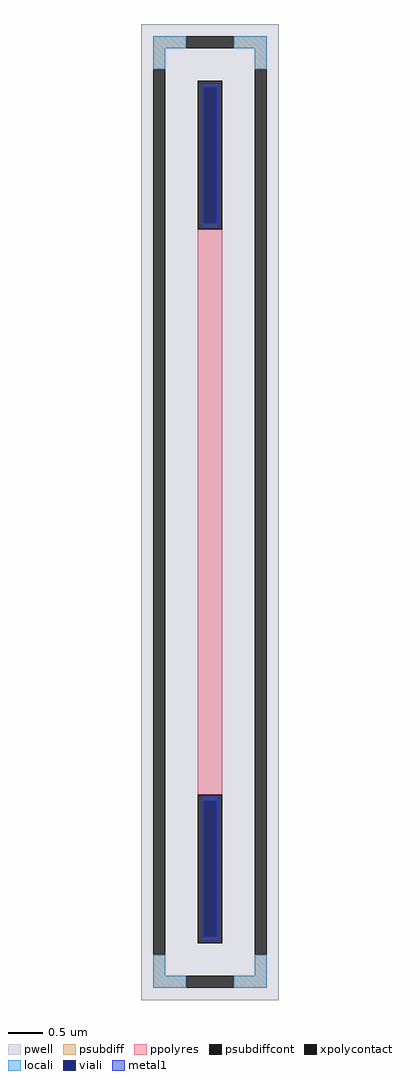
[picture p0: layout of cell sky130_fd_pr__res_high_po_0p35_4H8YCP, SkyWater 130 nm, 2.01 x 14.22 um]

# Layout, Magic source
magic
tech sky130A
magscale 1 2
<< pwell >>
rect -201 -1422 201 1422
<< psubdiff >>
rect -165 1352 -69 1386
rect 69 1352 165 1386
rect -165 1290 -131 1352
rect 131 1290 165 1352
rect -165 -1352 -131 -1290
rect 131 -1352 165 -1290
rect -165 -1386 -69 -1352
rect 69 -1386 165 -1352
<< psubdiffcont >>
rect -69 1352 69 1386
rect -165 -1290 -131 1290
rect 131 -1290 165 1290
rect -69 -1386 69 -1352
<< xpolycontact >>
rect -35 824 35 1256
rect -35 -1256 35 -824
<< ppolyres >>
rect -35 -824 35 824
<< locali >>
rect -165 1352 -69 1386
rect 69 1352 165 1386
rect -165 1290 -131 1352
rect 131 1290 165 1352
rect -165 -1352 -131 -1290
rect 131 -1352 165 -1290
rect -165 -1386 -69 -1352
rect 69 -1386 165 -1352
<< viali >>
rect -19 841 19 1238
rect -19 -1238 19 -841
<< metal1 >>
rect -25 1238 25 1250
rect -25 841 -19 1238
rect 19 841 25 1238
rect -25 829 25 841
rect -25 -841 25 -829
rect -25 -1238 -19 -841
rect 19 -1238 25 -841
rect -25 -1250 25 -1238
<< properties >>
string FIXED_BBOX -148 -1369 148 1369
string gencell sky130_fd_pr__res_high_po_0p35
string library sky130
string parameters w 0.350 l 8.4 m 1 nx 1 wmin 0.350 lmin 0.50 rho 319.8 val 8.788k dummy 0 dw 0.0 term 194.82 sterm 0.0 caplen 0 guard 1 glc 1 grc 1 gtc 1 gbc 1 compatible {sky130_fd_pr__res_high_po_0p35  sky130_fd_pr__res_high_po_0p69 sky130_fd_pr__res_high_po_1p41  sky130_fd_pr__res_high_po_2p85 sky130_fd_pr__res_high_po_5p73} snake 0 full_metal 1 wmax 0.350 vias 1 n_guard 0 hv_guard 0 viagb 0 viagt 0 viagl 0 viagr 0
<< end >>
